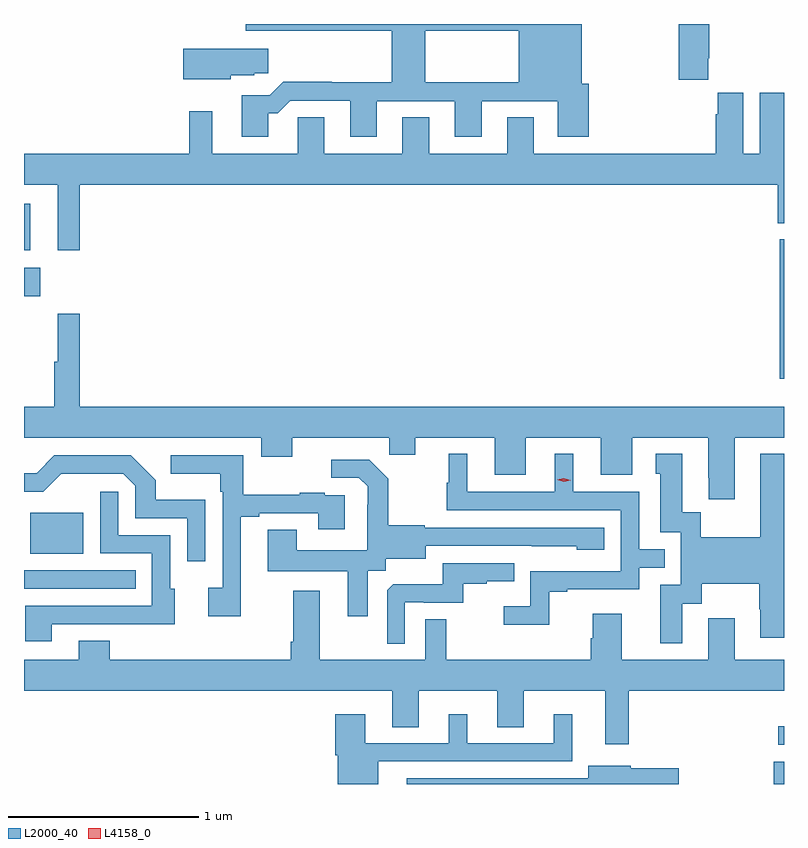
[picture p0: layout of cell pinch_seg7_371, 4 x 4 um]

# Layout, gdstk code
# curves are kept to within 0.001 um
import gdstk
lib = gdstk.Library(unit=1e-6, precision=1e-09)
def R(c, l, rs):  # rectangles x0, y0, x1, y1
    for r in rs: c.add(gdstk.rectangle(r[:2], r[2:], *l))
def P(c, l, *ps):  # polygons
    for p in ps: c.add(gdstk.Polygon(p, *l))
L2000_40 = (2000, 40)
L4158_0 = (4158, 0)

pinch_seg7_371 = lib.new_cell('pinch_seg7_371')
R(pinch_seg7_371, L2000_40, [(399.332,1021.438,399.387,1021.555), (399.357,1021.644,399.387,1021.742), (395.387,1022.466,395.975,1022.562), (395.42,1022.651,395.698,1022.866), (399.364,1023.57,399.387,1024.305), (395.387,1024.004,395.473,1024.156), (395.387,1024.247,395.419,1024.492)])
P(pinch_seg7_371, L2000_40, [(398.987,1025.257),(398.994,1025.257),(398.994,1025.438),(398.834,1025.438),(398.834,1025.145),(398.987,1025.145)],
  [(397.007,1025.135),(396.752,1025.135),(396.681,1025.064),(396.533,1025.064),(396.533,1024.845),(396.673,1024.845),(396.673,1024.967),(396.722,1024.967),(396.789,1025.034),(397.103,1025.034),(397.103,1024.845),(397.243,1024.845),(397.243,1025.031),(397.655,1025.031),(397.655,1024.845),(397.795,1024.845),(397.795,1025.031),(398.195,1025.031),(398.195,1024.845),(398.36,1024.845),(398.36,1025.124),(398.323,1025.124),(398.323,1025.438),(396.554,1025.438),(396.554,1025.402),(397.322,1025.402),(397.322,1025.132),(397.5,1025.132),(397.5,1025.402),(397.991,1025.402),(397.991,1025.132),(397.007,1025.132)],
  [(396.474,1025.168),(396.6,1025.168),(396.6,1025.179),(396.673,1025.179),(396.673,1025.308),(396.224,1025.308),(396.224,1025.147),(396.474,1025.147)],
  [(395.681,1024.592),(399.353,1024.592),(399.353,1024.39),(399.387,1024.39),(399.387,1025.077),(399.26,1025.077),(399.26,1024.756),(399.172,1024.756),(399.172,1025.077),(399.038,1025.077),(399.038,1024.964),(399.029,1024.964),(399.029,1024.756),(398.071,1024.756),(398.071,1024.946),(397.931,1024.946),(397.931,1024.756),(397.519,1024.756),(397.519,1024.946),(397.379,1024.946),(397.379,1024.756),(396.967,1024.756),(396.967,1024.946),(396.828,1024.946),(396.828,1024.756),(396.379,1024.756),(396.379,1024.978),(396.258,1024.978),(396.258,1024.756),(395.387,1024.756),(395.387,1024.592),(395.564,1024.592),(395.564,1024.248),(395.681,1024.248)],
  [(399.127,1023.26),(399.387,1023.26),(399.387,1023.424),(395.681,1023.424),(395.681,1023.913),(395.564,1023.913),(395.564,1023.66),(395.545,1023.66),(395.545,1023.424),(395.387,1023.424),(395.387,1023.26),(396.635,1023.26),(396.635,1023.161),(396.799,1023.161),(396.799,1023.26),(397.309,1023.26),(397.309,1023.17),(397.447,1023.17),(397.447,1023.26),(397.865,1023.26),(397.865,1023.066),(398.029,1023.066),(398.029,1023.26),(398.423,1023.26),(398.423,1023.066),(398.587,1023.066),(398.587,1023.26),(398.987,1023.26),(398.987,1023.049),(398.99,1023.049),(398.99,1022.937),(399.127,1022.937)],
  [(398.851,1022.386),(398.953,1022.386),(398.953,1022.492),(399.256,1022.492),(399.256,1022.358),(399.263,1022.358),(399.263,1022.208),(399.387,1022.208),(399.387,1023.175),(399.263,1023.175),(399.263,1022.737),(398.949,1022.737),(398.949,1022.867),(398.851,1022.867),(398.851,1023.175),(398.711,1023.175),(398.711,1023.072),(398.735,1023.072),(398.735,1022.763),(398.844,1022.763),(398.844,1022.487),(398.735,1022.487),(398.735,1022.178),(398.851,1022.178)],
  [(398.151,1022.451),(398.245,1022.451),(398.245,1022.463),(398.625,1022.463),(398.625,1022.577),(398.759,1022.577),(398.759,1022.673),(398.625,1022.673),(398.625,1022.976),(398.278,1022.976),(398.278,1023.175),(398.18,1023.175),(398.18,1022.976),(397.72,1022.976),(397.72,1023.175),(397.622,1023.175),(397.622,1023.024),(397.611,1023.024),(397.611,1022.88),(398.529,1022.88),(398.529,1022.559),(398.052,1022.559),(398.052,1022.374),(397.911,1022.374),(397.911,1022.276),(398.151,1022.276)],
  [(396.529,1022.844),(396.625,1022.844),(396.625,1022.862),(396.935,1022.862),(396.935,1022.778),(397.075,1022.778),(397.075,1022.958),(396.971,1022.958),(396.971,1022.971),(396.839,1022.971),(396.839,1022.96),(396.541,1022.96),(396.541,1023.168),(396.159,1023.168),(396.159,1023.071),(396.42,1023.071),(396.42,1022.975),(396.432,1022.975),(396.432,1022.47),(396.357,1022.47),(396.357,1022.322),(396.529,1022.322)],
  [(396.342,1022.935),(396.081,1022.935),(396.081,1023.038),(395.95,1023.168),(395.547,1023.168),(395.453,1023.074),(395.387,1023.074),(395.387,1022.976),(395.487,1022.976),(395.582,1023.071),(395.91,1023.072),(395.973,1023.009),(395.973,1022.838),(396.246,1022.838),(396.246,1022.61),(396.342,1022.61)],
  [(397.195,1022.56),(397.29,1022.56),(397.29,1022.624),(397.501,1022.624),(397.501,1022.691),(398.295,1022.69),(398.295,1022.672),(398.44,1022.672),(398.44,1022.787),(397.497,1022.787),(397.497,1022.8),(397.305,1022.8),(397.305,1023.045),(397.205,1023.145),(397.005,1023.145),(397.005,1023.051),(397.149,1023.051),(397.196,1023.004),(397.196,1022.909),(397.194,1022.909),(397.194,1022.668),(396.823,1022.668),(396.823,1022.777),(396.671,1022.777),(396.671,1022.558),(397.091,1022.558),(397.091,1022.322),(397.195,1022.322)],
  [(395.533,1022.28),(395.963,1022.28),(395.963,1022.279),(396.181,1022.279),(396.181,1022.466),(396.156,1022.466),(396.156,1022.748),(395.883,1022.748),(395.883,1022.977),(395.787,1022.977),(395.787,1022.652),(396.06,1022.652),(396.06,1022.376),(395.393,1022.376),(395.393,1022.19),(395.533,1022.19)],
  [(397.392,1022.394),(397.492,1022.394),(397.492,1022.391),(397.7,1022.391),(397.7,1022.493),(397.823,1022.493),(397.823,1022.504),(397.967,1022.504),(397.967,1022.601),(397.59,1022.601),(397.59,1022.489),(397.331,1022.489),(397.299,1022.457),(397.299,1022.177),(397.392,1022.177)],
  [(398.569,1021.928),(399.387,1021.928),(399.387,1022.092),(399.127,1022.092),(399.127,1022.311),(398.987,1022.311),(398.987,1022.092),(398.533,1022.092),(398.533,1022.335),(398.381,1022.335),(398.381,1022.205),(398.369,1022.205),(398.369,1022.092),(397.609,1022.092),(397.609,1022.306),(397.5,1022.306),(397.5,1022.092),(396.943,1022.092),(396.943,1022.455),(396.803,1022.455),(396.803,1022.188),(396.791,1022.188),(396.791,1022.092),(395.839,1022.092),(395.839,1022.191),(395.675,1022.191),(395.675,1022.092),(395.387,1022.092),(395.387,1021.928),(397.325,1021.928),(397.325,1021.738),(397.465,1021.738),(397.465,1021.928),(397.877,1021.928),(397.877,1021.738),(398.017,1021.738),(398.017,1021.928),(398.447,1021.928),(398.447,1021.647),(398.569,1021.647)],
  [(397.252,1021.557),(398.272,1021.557),(398.272,1021.804),(398.174,1021.804),(398.174,1021.653),(397.72,1021.653),(397.72,1021.804),(397.622,1021.804),(397.622,1021.653),(397.183,1021.653),(397.183,1021.804),(397.025,1021.804),(397.025,1021.59),(397.037,1021.59),(397.037,1021.438),(397.252,1021.438)],
  [(398.833,1021.521),(398.58,1021.521),(398.58,1021.534),(398.357,1021.534),(398.357,1021.467),(397.401,1021.467),(397.401,1021.438),(398.833,1021.438)])
P(pinch_seg7_371, L4158_0, [(398.229,1023.028),(398.194,1023.039),(398.193,1023.04),(398.194,1023.04),(398.229,1023.048),(398.264,1023.037),(398.265,1023.037),(398.264,1023.037)])

lib.write_gds('pinch_seg7_371.gds')
